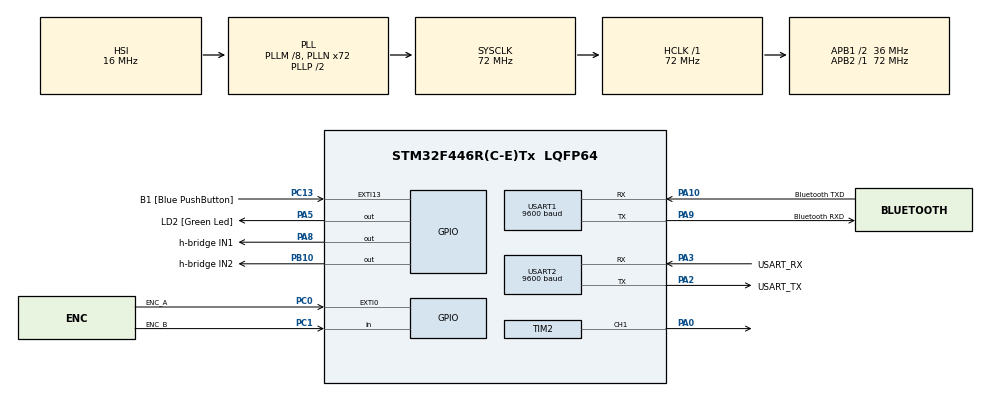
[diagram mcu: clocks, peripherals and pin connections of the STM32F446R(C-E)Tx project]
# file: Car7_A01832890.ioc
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Mcu.Family=STM32F4
Mcu.Name=STM32F446R(C-E)Tx
Mcu.Package=LQFP64
NVIC.EXTI0_IRQn=true\:0\:0\:false\:false\:true\:true\:true\:true
NVIC.EXTI15_10_IRQn=true\:0\:0\:false\:false\:true\:true\:true\:true
NVIC.PriorityGroup=NVIC_PRIORITYGROUP_0
PA0-WKUP.Signal=S_TIM2_CH1_ETR
PA10.GPIO_Label=Bluetooth TXD
PA10.GPIO_PuPd=GPIO_PULLUP
PA10.Mode=Asynchronous
PA10.Signal=USART1_RX
PA13.GPIO_Label=TMS
PA13.Mode=Serial_Wire
PA13.Signal=SYS_JTMS-SWDIO
PA14.GPIO_Label=TCK
PA14.Mode=Serial_Wire
PA14.Signal=SYS_JTCK-SWCLK
PA2.GPIO_Label=USART_TX
PA2.Mode=Asynchronous
PA2.Signal=USART2_TX
PA3.GPIO_Label=USART_RX
PA3.Mode=Asynchronous
PA3.Signal=USART2_RX
PA5.GPIO_Label=LD2 [Green Led]
PA5.Signal=GPIO_Output
PA8.GPIO_Label=h-bridge IN1
PA8.GPIO_PuPd=GPIO_NOPULL
PA8.Signal=GPIO_Output
PA9.GPIO_Label=Bluetooth RXD
PA9.GPIO_ModeDefaultPP=GPIO_MODE_AF_PP
PA9.Mode=Asynchronous
PA9.Signal=USART1_TX
PB10.GPIO_Label=h-bridge IN2
PB10.Signal=GPIO_Output
PB3.GPIO_Label=SWO
PB3.Signal=SYS_JTDO-SWO
PC0.GPIO_Label=ENC_A
PC0.GPIO_ModeDefaultEXTI=GPIO_MODE_IT_FALLING
PC0.GPIO_PuPd=GPIO_PULLUP
PC0.Signal=GPXTI0
PC1.GPIO_Label=ENC_B
PC1.GPIO_PuPd=GPIO_PULLUP
PC1.Signal=GPIO_Input
PC13.GPIO_Label=B1 [Blue PushButton]
PC13.GPIO_ModeDefaultEXTI=GPIO_MODE_IT_FALLING
PC13.Signal=GPXTI13
PC14-OSC32_IN.Mode=LSE-External-Oscillator
PC14-OSC32_IN.Signal=RCC_OSC32_IN
PC15-OSC32_OUT.Mode=LSE-External-Oscillator
PC15-OSC32_OUT.Signal=RCC_OSC32_OUT
PH0-OSC_IN.Mode=HSE-External-Oscillator
PH0-OSC_IN.Signal=RCC_OSC_IN
PH1-OSC_OUT.Mode=HSE-External-Oscillator
PH1-OSC_OUT.Signal=RCC_OSC_OUT
ProjectManager.HeapSize=0x200
ProjectManager.StackSize=0x400
ProjectManager.TargetToolchain=STM32CubeIDE
RCC.48MHZClocksFreq_Value=84000000
RCC.AHBFreq_Value=72000000
RCC.APB1CLKDivider=RCC_HCLK_DIV2
RCC.APB1Freq_Value=36000000
RCC.APB1TimFreq_Value=72000000
RCC.APB2Freq_Value=72000000
RCC.APB2TimFreq_Value=72000000
RCC.CortexFreq_Value=72000000
RCC.FLatency-AdvancedSettings=FLASH_LATENCY_2
RCC.HCLKFreq_Value=72000000
RCC.HSE_VALUE=8000000
RCC.HSI_VALUE=16000000
RCC.PLLM=8
RCC.PLLN=72
RCC.SYSCLKFreq_VALUE=72000000
RCC.SYSCLKSource=RCC_SYSCLKSOURCE_PLLCLK
RCC.USBFreq_Value=72000000
RCC.VCOOutputFreq_Value=144000000
SH.S_TIM2_CH1_ETR.0=TIM2_CH1,PWM Generation1 CH1
TIM2.Channel-PWM\ Generation1\ CH1=TIM_CHANNEL_1
TIM2.Period=100
TIM2.Prescaler=83
USART1.BaudRate=9600
USART1.VirtualMode=VM_ASYNC
USART2.BaudRate=9600
USART2.VirtualMode=VM_ASYNC
VP_TIM2_VS_ClockSourceINT.Mode=Internal
board=NUCLEO-F446RE

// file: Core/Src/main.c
/* USER CODE BEGIN Header */
/**
  ******************************************************************************
  * @file           : main.c
  * @brief          : Bluetooth Motor Control
  ******************************************************************************
  */
/* USER CODE END Header */
#include "main.h"

/* USER CODE BEGIN PD */
#define IN1_PORT        GPIOA
#define IN1_PIN         GPIO_PIN_8
#define IN2_PORT        GPIOB
#define IN2_PIN         GPIO_PIN_10
/* USER CODE END PD */

TIM_HandleTypeDef htim2;

UART_HandleTypeDef huart1;
UART_HandleTypeDef huart2;

/* USER CODE BEGIN PV */
extern UART_HandleTypeDef huart1;
uint8_t rx_data = 0;
/* USER CODE END PV */

void SystemClock_Config(void);
static void MX_GPIO_Init(void);
static void MX_USART2_UART_Init(void);
static void MX_USART1_UART_Init(void);
static void MX_TIM2_Init(void);

/* USER CODE BEGIN 0 */
volatile int position = 0;
float distance_meters = 0.0;

const float movement = 1.0/1618.0;
/* USER CODE END 0 */

int main(void)
{

  /* MCU Configuration--------------------------------------------------------*/

  /* Reset of all peripherals, Initializes the Flash interface and the Systick. */
  HAL_Init();

  /* Configure the system clock */
  SystemClock_Config();

  /* Initialize all configured peripherals */
  MX_GPIO_Init();
  MX_USART2_UART_Init();
  MX_USART1_UART_Init();
  MX_TIM2_Init();
  /* USER CODE BEGIN 2 */
  /* Ensure motors are stopped on startup */
  HAL_GPIO_WritePin(IN1_PORT, IN1_PIN, GPIO_PIN_RESET);
  HAL_GPIO_WritePin(IN2_PORT, IN2_PIN, GPIO_PIN_RESET);

  /* Defining the normal speed which the car drives with*/
  HAL_TIM_PWM_Start(&htim2, TIM_CHANNEL_1);
  __HAL_TIM_SET_COMPARE(&htim2, TIM_CHANNEL_1, 50);
  /* USER CODE END 2 */

  /* Infinite loop */
  /* USER CODE BEGIN WHILE */

  while (1)
  {
	  distance_meters = position*movement;

      /* Bluetooth commands from the phone */
      if (HAL_UART_Receive(&huart1, &rx_data, 1, 10) == HAL_OK)
      {
          switch (rx_data)
          {
              case 'f': /* Drive Forward */
                  HAL_GPIO_WritePin(IN1_PORT, IN1_PIN, GPIO_PIN_SET);
                  HAL_GPIO_WritePin(IN2_PORT, IN2_PIN, GPIO_PIN_RESET);
                  break;

              case 'b': /* Drive Backward */
                  HAL_GPIO_WritePin(IN1_PORT, IN1_PIN, GPIO_PIN_RESET);
                  HAL_GPIO_WritePin(IN2_PORT, IN2_PIN, GPIO_PIN_SET);
                  break;

              case 's': /* Stop */
              default:
                  HAL_GPIO_WritePin(IN1_PORT, IN1_PIN, GPIO_PIN_RESET);
                  HAL_GPIO_WritePin(IN2_PORT, IN2_PIN, GPIO_PIN_RESET);
                  break;

              case '1': /*  (20%) */
                  __HAL_TIM_SET_COMPARE(&htim2, TIM_CHANNEL_1, 20);
                  break;

              case '2': /* (40%) */
                  __HAL_TIM_SET_COMPARE(&htim2, TIM_CHANNEL_1, 40);
                  break;

              case '3': /* (60%) */
                  __HAL_TIM_SET_COMPARE(&htim2, TIM_CHANNEL_1, 60);
                  break;

              case '4': /* (80%) */
                  __HAL_TIM_SET_COMPARE(&htim2, TIM_CHANNEL_1, 80);
                  break;

              case '5': /*  (100%) */
                  __HAL_TIM_SET_COMPARE(&htim2, TIM_CHANNEL_1, 100);
                  break;
          }
      }

      /* Securing the board never freezes */
      __HAL_UART_CLEAR_OREFLAG(&huart1);

    /* USER CODE END WHILE */

  }
}

void SystemClock_Config(void)
{
  RCC_OscInitTypeDef RCC_OscInitStruct = {0};
  RCC_ClkInitTypeDef RCC_ClkInitStruct = {0};

  /** Configure the main internal regulator output voltage
  */
  __HAL_RCC_PWR_CLK_ENABLE();
  __HAL_PWR_VOLTAGESCALING_CONFIG(PWR_REGULATOR_VOLTAGE_SCALE3);

  /** Initializes the RCC Oscillators according to the specified parameters
  * in the RCC_OscInitTypeDef structure.
  */
  RCC_OscInitStruct.OscillatorType = RCC_OSCILLATORTYPE_HSI;
  RCC_OscInitStruct.HSIState = RCC_HSI_ON;
  RCC_OscInitStruct.HSICalibrationValue = RCC_HSICALIBRATION_DEFAULT;
  RCC_OscInitStruct.PLL.PLLState = RCC_PLL_ON;
  RCC_OscInitStruct.PLL.PLLSource = RCC_PLLSOURCE_HSI;
  RCC_OscInitStruct.PLL.PLLM = 8;
  RCC_OscInitStruct.PLL.PLLN = 72;
  RCC_OscInitStruct.PLL.PLLP = RCC_PLLP_DIV2;
  RCC_OscInitStruct.PLL.PLLQ = 2;
  RCC_OscInitStruct.PLL.PLLR = 2;
  if (HAL_RCC_OscConfig(&RCC_OscInitStruct) != HAL_OK)
  {
    Error_Handler();
  }

  /** Initializes the CPU, AHB and APB buses clocks
  */
  RCC_ClkInitStruct.ClockType = RCC_CLOCKTYPE_HCLK|RCC_CLOCKTYPE_SYSCLK
                              |RCC_CLOCKTYPE_PCLK1|RCC_CLOCKTYPE_PCLK2;
  RCC_ClkInitStruct.SYSCLKSource = RCC_SYSCLKSOURCE_PLLCLK;
  RCC_ClkInitStruct.AHBCLKDivider = RCC_SYSCLK_DIV1;
  RCC_ClkInitStruct.APB1CLKDivider = RCC_HCLK_DIV2;
  RCC_ClkInitStruct.APB2CLKDivider = RCC_HCLK_DIV1;

  if (HAL_RCC_ClockConfig(&RCC_ClkInitStruct, FLASH_LATENCY_2) != HAL_OK)
  {
    Error_Handler();
  }
}

static void MX_TIM2_Init(void)
{

  TIM_ClockConfigTypeDef sClockSourceConfig = {0};
  TIM_MasterConfigTypeDef sMasterConfig = {0};
  TIM_OC_InitTypeDef sConfigOC = {0};

  htim2.Instance = TIM2;
  htim2.Init.Prescaler = 83;
  htim2.Init.CounterMode = TIM_COUNTERMODE_UP;
  htim2.Init.Period = 100;
  htim2.Init.ClockDivision = TIM_CLOCKDIVISION_DIV1;
  htim2.Init.AutoReloadPreload = TIM_AUTORELOAD_PRELOAD_DISABLE;
  if (HAL_TIM_Base_Init(&htim2) != HAL_OK)
  {
    Error_Handler();
  }
  sClockSourceConfig.ClockSource = TIM_CLOCKSOURCE_INTERNAL;
  if (HAL_TIM_ConfigClockSource(&htim2, &sClockSourceConfig) != HAL_OK)
  {
    Error_Handler();
  }
  if (HAL_TIM_PWM_Init(&htim2) != HAL_OK)
  {
    Error_Handler();
  }
  sMasterConfig.MasterOutputTrigger = TIM_TRGO_RESET;
  sMasterConfig.MasterSlaveMode = TIM_MASTERSLAVEMODE_DISABLE;
  if (HAL_TIMEx_MasterConfigSynchronization(&htim2, &sMasterConfig) != HAL_OK)
  {
    Error_Handler();
  }
  sConfigOC.OCMode = TIM_OCMODE_PWM1;
  sConfigOC.Pulse = 0;
  sConfigOC.OCPolarity = TIM_OCPOLARITY_HIGH;
  sConfigOC.OCFastMode = TIM_OCFAST_DISABLE;
  if (HAL_TIM_PWM_ConfigChannel(&htim2, &sConfigOC, TIM_CHANNEL_1) != HAL_OK)
  {
    Error_Handler();
  }
  HAL_TIM_MspPostInit(&htim2);

}

static void MX_USART1_UART_Init(void)
{

  huart1.Instance = USART1;
  huart1.Init.BaudRate = 9600;
  huart1.Init.WordLength = UART_WORDLENGTH_8B;
  huart1.Init.StopBits = UART_STOPBITS_1;
  huart1.Init.Parity = UART_PARITY_NONE;
  huart1.Init.Mode = UART_MODE_TX_RX;
  huart1.Init.HwFlowCtl = UART_HWCONTROL_NONE;
  huart1.Init.OverSampling = UART_OVERSAMPLING_16;
  if (HAL_UART_Init(&huart1) != HAL_OK)
  {
    Error_Handler();
  }

}

static void MX_USART2_UART_Init(void)
{

  huart2.Instance = USART2;
  huart2.Init.BaudRate = 9600;
  huart2.Init.WordLength = UART_WORDLENGTH_8B;
  huart2.Init.StopBits = UART_STOPBITS_1;
  huart2.Init.Parity = UART_PARITY_NONE;
  huart2.Init.Mode = UART_MODE_TX_RX;
  huart2.Init.HwFlowCtl = UART_HWCONTROL_NONE;
  huart2.Init.OverSampling = UART_OVERSAMPLING_16;
  if (HAL_UART_Init(&huart2) != HAL_OK)
  {
    Error_Handler();
  }

}

static void MX_GPIO_Init(void)
{
  GPIO_InitTypeDef GPIO_InitStruct = {0};

  /* GPIO Ports Clock Enable */
  __HAL_RCC_GPIOC_CLK_ENABLE();
  __HAL_RCC_GPIOH_CLK_ENABLE();
  __HAL_RCC_GPIOA_CLK_ENABLE();
  __HAL_RCC_GPIOB_CLK_ENABLE();

  /*Configure GPIO pin Output Level */
  HAL_GPIO_WritePin(GPIOA, LD2_Pin|h_bridge_IN1_Pin, GPIO_PIN_RESET);

  /*Configure GPIO pin Output Level */
  HAL_GPIO_WritePin(h_bridge_IN2_GPIO_Port, h_bridge_IN2_Pin, GPIO_PIN_RESET);

  /*Configure GPIO pin : B1_Pin */
  GPIO_InitStruct.Pin = B1_Pin;
  GPIO_InitStruct.Mode = GPIO_MODE_IT_FALLING;
  GPIO_InitStruct.Pull = GPIO_NOPULL;
  HAL_GPIO_Init(B1_GPIO_Port, &GPIO_InitStruct);

  /*Configure GPIO pin : ENC_A_Pin */
  GPIO_InitStruct.Pin = ENC_A_Pin;
  GPIO_InitStruct.Mode = GPIO_MODE_IT_FALLING;
  GPIO_InitStruct.Pull = GPIO_PULLUP;
  HAL_GPIO_Init(ENC_A_GPIO_Port, &GPIO_InitStruct);

  /*Configure GPIO pin : ENC_B_Pin */
  GPIO_InitStruct.Pin = ENC_B_Pin;
  GPIO_InitStruct.Mode = GPIO_MODE_INPUT;
  GPIO_InitStruct.Pull = GPIO_PULLUP;
  HAL_GPIO_Init(ENC_B_GPIO_Port, &GPIO_InitStruct);

  /*Configure GPIO pins : LD2_Pin h_bridge_IN1_Pin */
  GPIO_InitStruct.Pin = LD2_Pin|h_bridge_IN1_Pin;
  GPIO_InitStruct.Mode = GPIO_MODE_OUTPUT_PP;
  GPIO_InitStruct.Pull = GPIO_NOPULL;
  GPIO_InitStruct.Speed = GPIO_SPEED_FREQ_LOW;
  HAL_GPIO_Init(GPIOA, &GPIO_InitStruct);

  /*Configure GPIO pin : h_bridge_IN2_Pin */
  GPIO_InitStruct.Pin = h_bridge_IN2_Pin;
  GPIO_InitStruct.Mode = GPIO_MODE_OUTPUT_PP;
  GPIO_InitStruct.Pull = GPIO_NOPULL;
  GPIO_InitStruct.Speed = GPIO_SPEED_FREQ_LOW;
  HAL_GPIO_Init(h_bridge_IN2_GPIO_Port, &GPIO_InitStruct);

  /* EXTI interrupt init*/
  HAL_NVIC_SetPriority(EXTI0_IRQn, 0, 0);
  HAL_NVIC_EnableIRQ(EXTI0_IRQn);

  HAL_NVIC_SetPriority(EXTI15_10_IRQn, 0, 0);
  HAL_NVIC_EnableIRQ(EXTI15_10_IRQn);

}

/* USER CODE BEGIN 4 */
void HAL_GPIO_EXTI_Callback(uint16_t GPIO_Pin)
{
  /* Checking if ENC_A gave the signal */
  if (GPIO_Pin == ENC_A_Pin)
  {
    /* Checking direction with ENC_B */
    if (HAL_GPIO_ReadPin(ENC_B_GPIO_Port, ENC_B_Pin) == GPIO_PIN_SET)
    {
      position++;
    }
    else
    {
      position--;
    }
  }
}
/* USER CODE END 4 */

void Error_Handler(void)
{
  __disable_irq();
  while (1)
  {
  }
}
